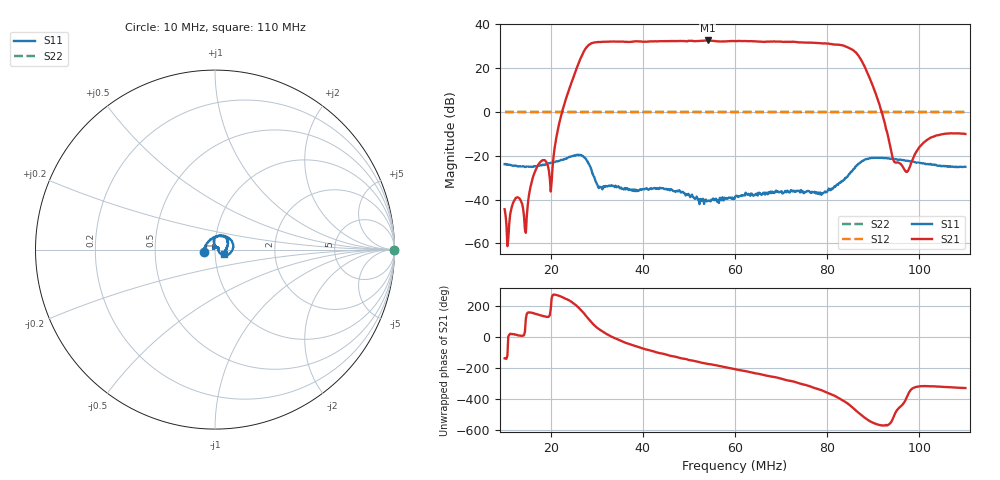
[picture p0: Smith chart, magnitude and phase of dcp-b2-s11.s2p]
! Anritsu VNA Master:  Model: MS2034B/10/19/501
! SN:  1337062
! /bd0/ovro-jan-2016/dcp-b2-s11.s2p
! Existing Calibration Information:
! TYPE:  Current Settings,  Active Cal Settings
! TIME:  01/09/2016 05:35:07 PM,  01/09/2016 12:40:35 PM
! INTERNAL TEMP:  41.5 C,  41.8 C
! # POINTS:  500,  500
! START FREQ:  10.000 MHz,  10.000 MHz
! STOP FREQ:  110.000 MHz,  110.000 MHz
! SOURCE POWER:  Low,  Low
! IFBW:  100 Hz,  100 Hz
! AVG FACTOR:  3 ,  3
! REF PLANE 1:  2.2245 m,  2.2245 m
! REF PLANE 2:  0 mm,  0 mm
! CAL TYPE:  1P2P S11,S21,  1P2P S11,S21
! CAL METHOD:  SOLT,  SOLT
! CAL LINE TYPE:  Coax,  Coax
! DUT PORT 1:  K-Conn(M),  K-Conn(M)
! DUT PORT 2:  N-Conn(M),  N-Conn(M)
! CAL STATUS:  OK: Accuracy High,  --
# GHZ S DB R 50.0
! FREQ.GHZ  S11DB  S11A  S21DB  S21A  S12DB  S12A  S22DB  S22A
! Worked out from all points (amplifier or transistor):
!   500 points, 10 MHz to 110 MHz, reference 50 ohm
!   highest |S21| = 32.7 dB at 54.09 MHz (marker M1)
!   |S21| within 3 dB of that: 27.83 MHz to 84.3 MHz (56.47 MHz wide, 101 % of centre)
!   unconditionally stable (mu >= 1): nowhere
!   at 26.63 MHz: K = 9.17, MSG = 12.6 dB, |S12| = 0.0 dB
!   at 60.1 MHz: K = 20.78, MSG = 16.2 dB, |S12| = 0.0 dB
!   at 110 MHz: K = 0.13, MSG = -5.0 dB, |S12| = 0.0 dB
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0.01  -23.78 -169.3  -44.39 -137.4  0.00 0.0  0.00 0.0
0.02342685  -21.32 58.3  6.82 -114.4  0.00 0.0  0.00 0.0
0.02563126  -19.62 29.5  19.98 -157.2  0.00 0.0  0.00 0.0
0.02683367  -20.00 4.3  26.17 167.0  0.00 0.0  0.00 0.0
0.02783567  -22.05 -20.2  29.72 131.0  0.00 0.0  0.00 0.0
0.02923848  -28.97 -36.3  31.67 83.3  0.00 0.0  0.00 0.0
0.03104208  -34.38 2.8  32.05 40.7  0.00 0.0  0.00 0.0
0.03324649  -33.46 28.7  32.18 2.3  0.00 0.0  0.00 0.0
0.03825651  -35.32 59.1  32.27 -56.6  0.00 0.0  0.00 0.0
0.04346693  -35.09 90.5  32.34 -102.4  0.00 0.0  0.00 0.0
0.04847695  -36.55 98.8  32.46 -138.1  0.00 0.0  0.00 0.0
0.05408818  -40.61 137.6  32.70 -173.4  0.00 0.0  0.00 0.0
0.0601002  -38.53 150.4  32.38 152.1  0.00 0.0  0.00 0.0
0.06951904  -36.66 95.2  32.23 95.2  0.00 0.0  0.00 0.0
0.07292585  -36.35 71.2  31.99 70.9  0.00 0.0  0.00 0.0
0.07673347  -36.42 62.8  31.63 36.1  0.00 0.0  0.00 0.0
0.08074148  -35.66 82.0  31.12 -8.6  0.00 0.0  0.00 0.0
0.0843487  -29.65 98.1  29.66 -67.7  0.00 0.0  0.00 0.0
0.08695391  -23.44 87.8  25.26 -133.4  0.00 0.0  0.00 0.0
0.08915832  -21.20 64.6  15.83 177.6  0.00 0.0  0.00 0.0
0.09336673  -21.11 38.0  -12.55 154.0  0.00 0.0  0.00 0.0
0.11  -25.02 -24.1  -10.01 30.5  0.00 0.0  0.00 0.0
